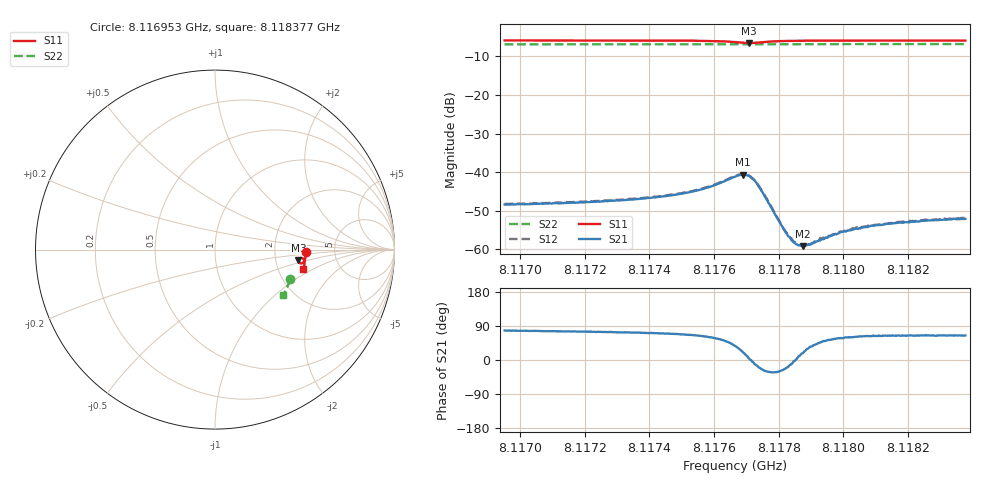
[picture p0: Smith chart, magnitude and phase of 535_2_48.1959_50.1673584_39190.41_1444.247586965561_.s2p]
#  HZ  S  RI  R  50.00
! Rohde & Schwarz Vector Network Analyzer
! Rohde-Schwarz,ZNB20-2Port,1311601062101988,3.16
! Created: UTC 3/20/2024, 12:00:02 PM
! freq[Hz]  re:S11  im:S11  re:S21  im:S21  re:S12  im:S12  re:S22  im:S22
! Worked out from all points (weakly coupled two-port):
!   401 points, 8.116953 GHz to 8.118377 GHz, reference 50 ohm
!   highest |S21| = -40.62 dB at 8.11769 GHz (marker M1); lowest = -59.1 dB at 8.117875 GHz (marker M2)
!   lowest |S11| = -6.6 dB at 8.117708 GHz (marker M3), VSWR 2.76, Z = 134 - j20.7 ohm
!   |S11| at or under -10 dB: nowhere
!   |S22| runs from -6.9 to -6.8 dB; largest |S21 - S12| = 0.00029
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8.1169525e9  0.5065 -0.012  0.000782 0.00373  0.000863 0.00378  0.4199 -0.1653
8.1171912e9  0.5052 -0.031  0.00105 0.00393  0.00113 0.004  0.4141 -0.1809
8.1173159e9  0.5039 -0.0413  0.00128 0.00415  0.00131 0.00417  0.4108 -0.189
8.1174298e9  0.5021 -0.0516  0.00158 0.00451  0.00165 0.00461  0.4078 -0.1965
8.1175545e9  0.4975 -0.0652  0.00258 0.00529  0.0027 0.00538  0.4038 -0.2047
8.1176044e9  0.4925 -0.0718  0.0037 0.00576  0.00377 0.00587  0.4022 -0.2078
8.1176649e9  0.4765 -0.0766  0.00693 0.0053  0.00712 0.00541  0.3998 -0.2113
8.1176899e9  0.4668 -0.0702  0.00875 0.00318  0.0089 0.00327  0.3986 -0.2126
8.1177077e9  0.4642 -0.0603  0.00897 0.000688  0.00906 0.000744  0.3982 -0.2131
8.1177255e9  0.4685 -0.0508  0.00769 -0.00145  0.00773 -0.00147  0.3981 -0.2138
8.1177397e9  0.4749 -0.0469  0.00599 -0.00219  0.00618 -0.00229  0.3978 -0.2145
8.1178145e9  0.4951 -0.0557  0.00168 -0.000796  0.00169 -0.000809  0.3965 -0.2198
8.1178324e9  0.4965 -0.0588  0.00141 -0.000373  0.00141 -0.000366  0.396 -0.2209
8.1178537e9  0.4976 -0.0621  0.00117 2.78e-05  0.00117 1.45e-05  0.3953 -0.2224
8.1178751e9  0.4983 -0.0651  0.00105 0.000348  0.00107 0.000365  0.3947 -0.2237
8.1179036e9  0.4987 -0.0685  0.000975 0.000712  0.000975 0.000727  0.3938 -0.2255
8.1179357e9  0.4987 -0.0723  0.000891 0.00103  0.000939 0.00105  0.3926 -0.2276
8.1179677e9  0.4987 -0.0758  0.000891 0.00125  0.000908 0.0013  0.3915 -0.2296
8.1180354e9  0.4982 -0.0823  0.0009 0.00161  0.000897 0.00164  0.3893 -0.2338
8.1181423e9  0.4968 -0.0915  0.000939 0.00194  0.000951 0.00197  0.3857 -0.2406
8.1182491e9  0.4952 -0.1003  0.000986 0.00213  0.00103 0.00214  0.3818 -0.2471
8.1183774e9  0.4931 -0.1102  0.00106 0.00225  0.00117 0.00227  0.3772 -0.2548
